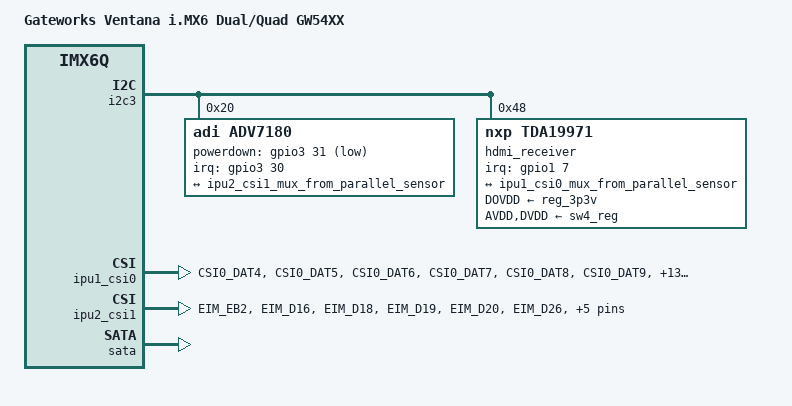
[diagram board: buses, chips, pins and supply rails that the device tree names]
/*
 * Copyright 2013 Gateworks Corporation
 *
 * The code contained herein is licensed under the GNU General Public
 * License. You may obtain a copy of the GNU General Public License
 * Version 2 or later at the following locations:
 *
 * http://www.opensource.org/licenses/gpl-license.html
 * http://www.gnu.org/copyleft/gpl.html
 */

/dts-v1/;
#include "imx6q.dtsi"
#include "imx6qdl-gw54xx.dtsi"
#include <dt-bindings/media/tda1997x.h>

/ {
	model = "Gateworks Ventana i.MX6 Dual/Quad GW54XX";
	compatible = "gw,imx6q-gw54xx", "gw,ventana", "fsl,imx6q";

	sound-digital {
		compatible = "simple-audio-card";
		simple-audio-card,name = "tda1997x-audio";

		simple-audio-card,dai-link@0 {
			format = "i2s";

			cpu {
				sound-dai = <&ssi2>;
			};

			codec {
				bitclock-master;
				frame-master;
				sound-dai = <&hdmi_receiver>;
			};
		};
	};
};

&i2c3 {
	adv7180: camera@20 {
		compatible = "adi,adv7180";
		pinctrl-names = "default";
		pinctrl-0 = <&pinctrl_adv7180>;
		reg = <0x20>;
		powerdown-gpios = <&gpio3 31 GPIO_ACTIVE_LOW>;
		interrupt-parent = <&gpio3>;
		interrupts = <30 IRQ_TYPE_LEVEL_LOW>;

		port {
			adv7180_to_ipu2_csi1_mux: endpoint {
				remote-endpoint = <&ipu2_csi1_mux_from_parallel_sensor>;
				bus-width = <8>;
			};
		};
	};

	hdmi_receiver: hdmi-receiver@48 {
		compatible = "nxp,tda19971";
		pinctrl-names = "default";
		pinctrl-0 = <&pinctrl_tda1997x>;
		reg = <0x48>;
		interrupt-parent = <&gpio1>;
		interrupts = <7 IRQ_TYPE_LEVEL_LOW>;
		DOVDD-supply = <&reg_3p3v>;
		AVDD-supply = <&sw4_reg>;
		DVDD-supply = <&sw4_reg>;
		#sound-dai-cells = <0>;
		nxp,audout-format = "i2s";
		nxp,audout-layout = <0>;
		nxp,audout-width = <16>;
		nxp,audout-mclk-fs = <128>;
		/*
		 * The 8bpp YUV422 semi-planar mode outputs CbCr[11:4]
		 * and Y[11:4] across 16bits in the same cycle
		 * which we map to VP[15:08]<->CSI_DATA[19:12]
		 */
		nxp,vidout-portcfg =
			/*G_Y_11_8<->VP[15:12]<->CSI_DATA[19:16]*/
			< TDA1997X_VP24_V15_12 TDA1997X_G_Y_11_8 >,
			/*G_Y_7_4<->VP[11:08]<->CSI_DATA[15:12]*/
			< TDA1997X_VP24_V11_08 TDA1997X_G_Y_7_4 >,
			/*R_CR_CBCR_11_8<->VP[07:04]<->CSI_DATA[11:08]*/
			< TDA1997X_VP24_V07_04 TDA1997X_R_CR_CBCR_11_8 >,
			/*R_CR_CBCR_7_4<->VP[03:00]<->CSI_DATA[07:04]*/
			< TDA1997X_VP24_V03_00 TDA1997X_R_CR_CBCR_7_4 >;

		port {
			tda1997x_to_ipu1_csi0_mux: endpoint {
				remote-endpoint = <&ipu1_csi0_mux_from_parallel_sensor>;
				bus-width = <16>;
				hsync-active = <1>;
				vsync-active = <1>;
				data-active = <1>;
			};
		};
	};
};

&ipu1_csi0_from_ipu1_csi0_mux {
	bus-width = <16>;
};

&ipu1_csi0_mux_from_parallel_sensor {
	remote-endpoint = <&tda1997x_to_ipu1_csi0_mux>;
	bus-width = <16>;
};

&ipu1_csi0 {
	pinctrl-names = "default";
	pinctrl-0 = <&pinctrl_ipu1_csi0>;
};

&ipu2_csi1_from_ipu2_csi1_mux {
	bus-width = <8>;
};

&ipu2_csi1_mux_from_parallel_sensor {
	remote-endpoint = <&adv7180_to_ipu2_csi1_mux>;
	bus-width = <8>;
};

&ipu2_csi1 {
	pinctrl-names = "default";
	pinctrl-0 = <&pinctrl_ipu2_csi1>;
};

&sata {
	status = "okay";
};

&iomuxc {
	pinctrl_adv7180: adv7180grp {
		fsl,pins = <
			MX6QDL_PAD_EIM_D30__GPIO3_IO30          0x0001b0b0
			MX6QDL_PAD_EIM_D31__GPIO3_IO31          0x4001b0b0
		>;
	};

	pinctrl_ipu1_csi0: ipu1_csi0grp {
		fsl,pins = <
			MX6QDL_PAD_CSI0_DAT4__IPU1_CSI0_DATA04		0x1b0b0
			MX6QDL_PAD_CSI0_DAT5__IPU1_CSI0_DATA05		0x1b0b0
			MX6QDL_PAD_CSI0_DAT6__IPU1_CSI0_DATA06		0x1b0b0
			MX6QDL_PAD_CSI0_DAT7__IPU1_CSI0_DATA07		0x1b0b0
			MX6QDL_PAD_CSI0_DAT8__IPU1_CSI0_DATA08		0x1b0b0
			MX6QDL_PAD_CSI0_DAT9__IPU1_CSI0_DATA09		0x1b0b0
			MX6QDL_PAD_CSI0_DAT10__IPU1_CSI0_DATA10		0x1b0b0
			MX6QDL_PAD_CSI0_DAT11__IPU1_CSI0_DATA11		0x1b0b0
			MX6QDL_PAD_CSI0_DAT12__IPU1_CSI0_DATA12		0x1b0b0
			MX6QDL_PAD_CSI0_DAT13__IPU1_CSI0_DATA13		0x1b0b0
			MX6QDL_PAD_CSI0_DAT14__IPU1_CSI0_DATA14		0x1b0b0
			MX6QDL_PAD_CSI0_DAT15__IPU1_CSI0_DATA15		0x1b0b0
			MX6QDL_PAD_CSI0_DAT16__IPU1_CSI0_DATA16		0x1b0b0
			MX6QDL_PAD_CSI0_DAT17__IPU1_CSI0_DATA17		0x1b0b0
			MX6QDL_PAD_CSI0_DAT18__IPU1_CSI0_DATA18		0x1b0b0
			MX6QDL_PAD_CSI0_DAT19__IPU1_CSI0_DATA19		0x1b0b0
			MX6QDL_PAD_CSI0_MCLK__IPU1_CSI0_HSYNC		0x1b0b0
			MX6QDL_PAD_CSI0_PIXCLK__IPU1_CSI0_PIXCLK	0x1b0b0
			MX6QDL_PAD_CSI0_VSYNC__IPU1_CSI0_VSYNC		0x1b0b0
		>;
	};

	pinctrl_ipu2_csi1: ipu2_csi1grp {
		fsl,pins = <
			MX6QDL_PAD_EIM_EB2__IPU2_CSI1_DATA19    0x1b0b0
			MX6QDL_PAD_EIM_D16__IPU2_CSI1_DATA18    0x1b0b0
			MX6QDL_PAD_EIM_D18__IPU2_CSI1_DATA17    0x1b0b0
			MX6QDL_PAD_EIM_D19__IPU2_CSI1_DATA16    0x1b0b0
			MX6QDL_PAD_EIM_D20__IPU2_CSI1_DATA15    0x1b0b0
			MX6QDL_PAD_EIM_D26__IPU2_CSI1_DATA14    0x1b0b0
			MX6QDL_PAD_EIM_D27__IPU2_CSI1_DATA13    0x1b0b0
			MX6QDL_PAD_EIM_A17__IPU2_CSI1_DATA12    0x1b0b0
			MX6QDL_PAD_EIM_D29__IPU2_CSI1_VSYNC     0x1b0b0
			MX6QDL_PAD_EIM_EB3__IPU2_CSI1_HSYNC     0x1b0b0
			MX6QDL_PAD_EIM_A16__IPU2_CSI1_PIXCLK    0x1b0b0
		>;
	};

	pinctrl_tda1997x: tda1997xgrp {
		fsl,pins = <
			MX6QDL_PAD_GPIO_7__GPIO1_IO07	0x1b0b0
		>;
	};
};
